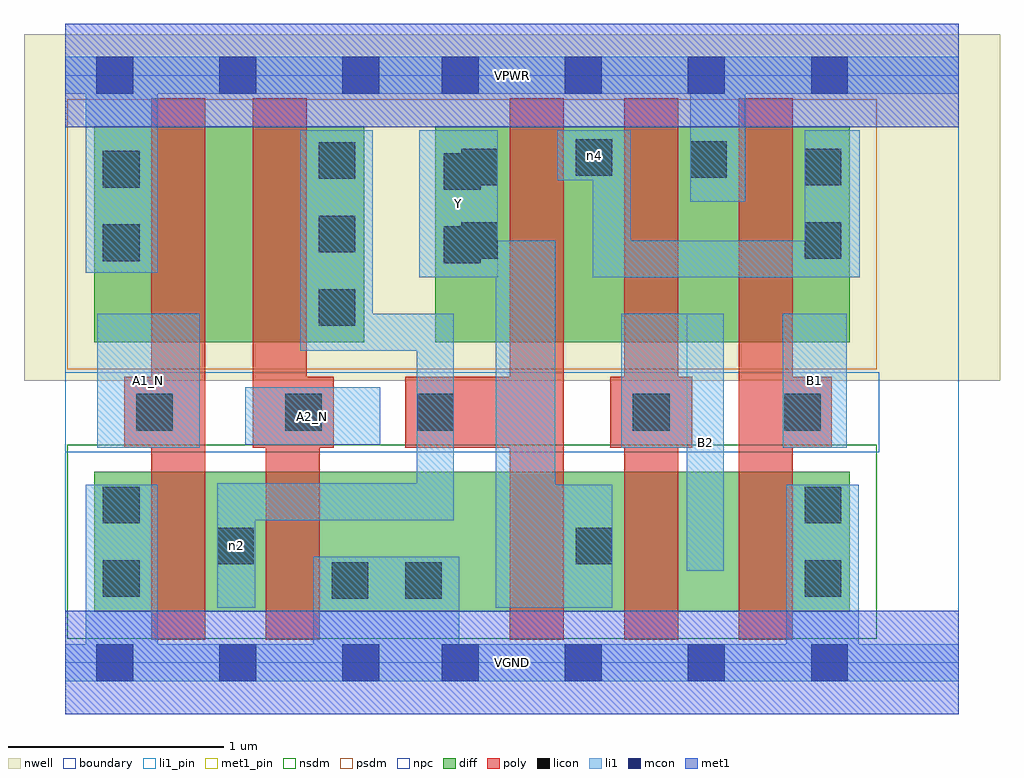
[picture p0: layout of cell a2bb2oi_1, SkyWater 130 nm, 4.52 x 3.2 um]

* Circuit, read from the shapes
.subckt a2bb2oi_1 A1_N A2_N B1 B2 VGND VPWR Y n2 n4
XM1 n2 A1_N VGND VSUBS sky130_fd_pr__nfet_01v8 w=0.65 l=0.25
XM2 VGND A2_N n2 VSUBS sky130_fd_pr__nfet_01v8 w=0.65 l=0.25
XM3 Y n2 VGND VSUBS sky130_fd_pr__nfet_01v8 w=0.65 l=0.25
XM4 n1 B2 Y VSUBS sky130_fd_pr__nfet_01v8 w=0.65 l=0.25
XM5 VGND B1 n1 VSUBS sky130_fd_pr__nfet_01v8 w=0.65 l=0.25
XM6 n3 A1_N VPWR n5 sky130_fd_pr__pfet_01v8 w=1 l=0.25
XM7 n2 A2_N n3 n5 sky130_fd_pr__pfet_01v8 w=1 l=0.25
XM8 n4 n2 Y n5 sky130_fd_pr__pfet_01v8 w=1 l=0.25
XM9 VPWR B2 n4 n5 sky130_fd_pr__pfet_01v8 w=1 l=0.25
XM10 n4 B1 VPWR n5 sky130_fd_pr__pfet_01v8 w=1 l=0.25
.ends

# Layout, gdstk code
import gdstk
lib = gdstk.Library(unit=1e-6, precision=1e-09)
def R(c, l, rs):  # rectangles x0, y0, x1, y1
    for r in rs: c.add(gdstk.rectangle(r[:2], r[2:], *l))
def A(c, l, x, y, w, h, nx, ny, dx, dy):  # array of equal rectangles
    R(c, l, [(x+i*dx, y+j*dy, x+i*dx+w, y+j*dy+h) for i in range(nx) for j in range(ny)])
nwell = (64, 20)
diff = (65, 20)
poly = (66, 20)
licon = (66, 44)
li1_pin = (67, 16)
li1 = (67, 20)
mcon = (67, 44)
met1_pin = (68, 16)
met1 = (68, 20)
nsdm = (93, 44)
psdm = (94, 20)
npc = (95, 20)
boundary = (235, 4)

a2bb2oi_1 = lib.new_cell('a2bb2oi_1')
R(a2bb2oi_1, nwell, [(-0.19,1.305,4.33,2.91), (0,1.305,4.14,2.91)])
R(a2bb2oi_1, diff, [(0.135,0.235,3.635,0.885), (0.135,1.485,1.385,2.485), (1.715,1.485,3.635,2.485)])
A(a2bb2oi_1, poly, 2.06, 0.105, 0.25, 2.51, 3, 1, 0.53, 0)
R(a2bb2oi_1, poly, [(0.4,0.105,0.65,2.615), (0.93,0.105,1.18,1.325), (0.275,0.995,0.65,1.325), (0.87,0.995,1.245,1.325), (0.87,0.995,1.12,2.615), (1.575,0.995,2.31,1.325), (2.525,0.995,2.905,1.325), (3.12,0.995,3.55,1.325)])
A(a2bb2oi_1, licon, 1.175, 1.56, 0.17, 0.17, 1, 3, 0, 0.34)
R(a2bb2oi_1, licon, [(1.235,0.295,1.405,0.465), (1.575,0.295,1.745,0.465), (0.175,0.305,0.345,0.475), (3.425,0.305,3.595,0.475), (0.705,0.455,0.875,0.625), (2.365,0.455,2.535,0.625), (0.175,0.645,0.345,0.815), (3.425,0.645,3.595,0.815), (0.33,1.075,0.5,1.245), (1.02,1.075,1.19,1.245), (1.63,1.075,1.8,1.245), (2.63,1.075,2.8,1.245), (3.33,1.075,3.5,1.245), (1.755,1.85,1.925,2.02), (0.175,1.86,0.345,2.03), (1.835,1.87,2.005,2.04), (3.425,1.87,3.595,2.04), (1.755,2.19,1.925,2.36), (0.175,2.2,0.345,2.37), (1.835,2.21,2.005,2.38), (3.425,2.21,3.595,2.38), (2.895,2.245,3.065,2.415), (2.365,2.255,2.535,2.425)])
R(a2bb2oi_1, li1_pin, [(2.88,0.425,3.05,1.615), (0.15,0.995,0.625,1.615), (3.325,0.995,3.62,1.615), (0.835,1.01,1.46,1.275), (1.64,1.785,2.005,2.465)])
R(a2bb2oi_1, li1, [(0,-0.085,4.14,0.085), (0.095,-0.085,0.43,0.825), (1.15,-0.085,1.825,0.49), (3.34,-0.085,3.675,0.825), (0.705,0.255,0.88,0.83), (1.995,0.255,2.27,1.955), (1.995,0.255,2.535,0.825), (2.88,0.425,3.05,1.615), (0.705,0.66,1.8,0.83), (1.63,0.66,1.8,1.615), (0.15,0.995,0.625,1.615), (2.575,0.995,3.05,1.615), (3.325,0.995,3.62,1.615), (0.835,1.01,1.46,1.275), (1.09,1.445,1.425,2.465), (1.09,1.445,1.8,1.615), (1.64,1.785,2.005,2.465), (2.445,1.785,3.68,1.955), (2.445,1.785,2.62,2.465), (3.425,1.785,3.68,2.465), (0.095,1.805,0.43,2.805), (2.895,2.135,3.15,2.805), (2.28,2.235,2.62,2.465), (0,2.635,4.14,2.805)])
A(a2bb2oi_1, mcon, 0.145, -0.085, 0.17, 0.17, 3, 2, 0.57, 2.72)
A(a2bb2oi_1, mcon, 1.745, -0.085, 0.17, 0.17, 4, 2, 0.57, 2.72)
R(a2bb2oi_1, met1_pin, [(0,-0.24,4.14,0.24), (0,2.48,4.14,2.96)])
R(a2bb2oi_1, met1, [(0,-0.24,4.14,0.24), (0,2.48,4.14,2.96)])
R(a2bb2oi_1, nsdm, [(0.01,0.11,3.76,1.01)])
R(a2bb2oi_1, psdm, [(0.01,1.36,3.76,2.61)])
R(a2bb2oi_1, npc, [(0,0.975,3.77,1.345)])
R(a2bb2oi_1, boundary, [(0,0,4.14,2.72)])
a2bb2oi_1.add(gdstk.Label('A1_N', (0.387,1.305), layer=67, texttype=5))
a2bb2oi_1.add(gdstk.Label('A2_N', (1.147,1.142), layer=67, texttype=5))
a2bb2oi_1.add(gdstk.Label('B1', (3.472,1.305), layer=67, texttype=5))
a2bb2oi_1.add(gdstk.Label('B2', (2.965,1.02), layer=67, texttype=5))
a2bb2oi_1.add(gdstk.Label('Y', (1.822,2.125), layer=67, texttype=5))
a2bb2oi_1.add(gdstk.Label('n2', (0.792,0.542), layer=67, texttype=5))
a2bb2oi_1.add(gdstk.Label('n4', (2.45,2.35), layer=67, texttype=5))
a2bb2oi_1.add(gdstk.Label('VPWR', (2.07,2.72), layer=68, texttype=5))
a2bb2oi_1.add(gdstk.Label('VGND', (2.07,0), layer=68, texttype=5))
a2bb2oi_1.add(gdstk.Label('A1_N', (0.387,1.305), layer=67, texttype=16))
a2bb2oi_1.add(gdstk.Label('A2_N', (1.147,1.142), layer=67, texttype=16))
a2bb2oi_1.add(gdstk.Label('B1', (3.472,1.305), layer=67, texttype=16))
a2bb2oi_1.add(gdstk.Label('B2', (2.965,1.02), layer=67, texttype=16))
a2bb2oi_1.add(gdstk.Label('Y', (1.822,2.125), layer=67, texttype=16))
a2bb2oi_1.add(gdstk.Label('VPWR', (2.07,2.72), layer=68, texttype=16))
a2bb2oi_1.add(gdstk.Label('VGND', (2.07,0), layer=68, texttype=16))

lib.write_gds('a2bb2oi_1.gds')
